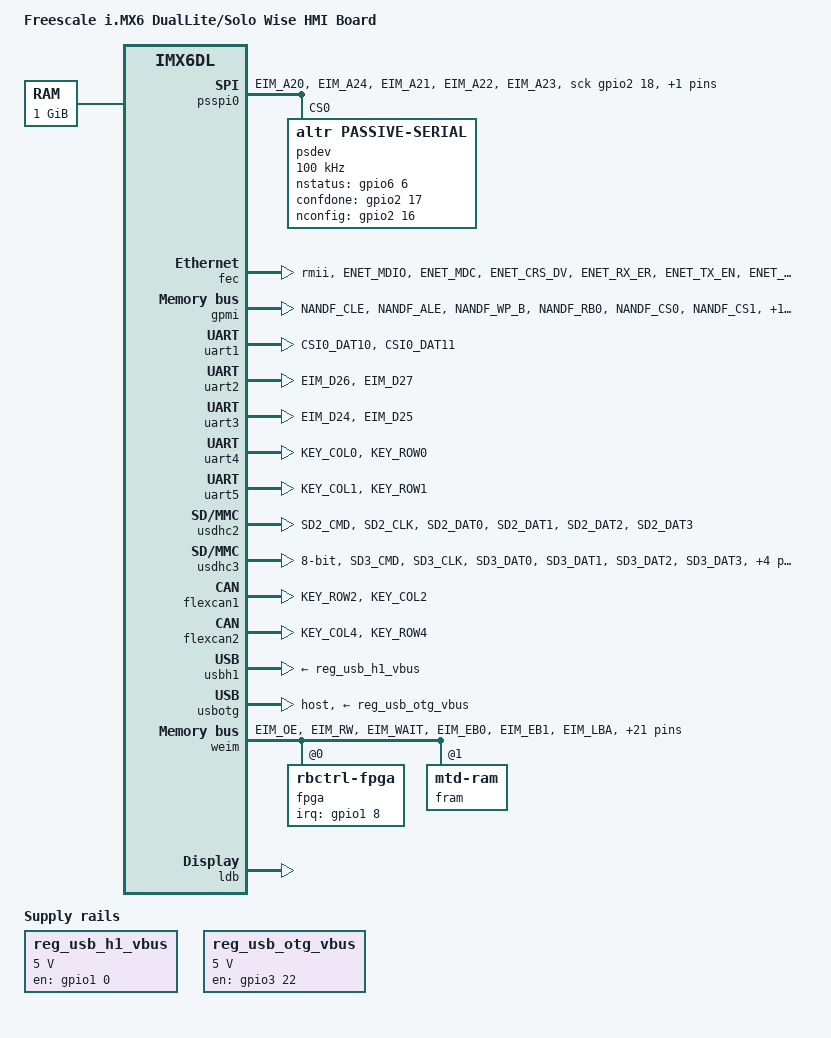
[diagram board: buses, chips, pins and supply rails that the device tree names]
/*
 * Copyright (C) 2013 Freescale Semiconductor, Inc.
 *
 * This program is free software; you can redistribute it and/or modify
 * it under the terms of the GNU General Public License version 2 as
 * published by the Free Software Foundation.
 */

/dts-v1/;

#include "imx6dl.dtsi"

/ {
	model = "Freescale i.MX6 DualLite/Solo Wise HMI Board";
	compatible = "autorock,imx6dl-wisehmi", "autorock,imx6qdl-wisehmi", "fsl,imx6dl";

	memory {
		reg = <0x10000000 0x40000000>;
	};

	chosen {
		bootargs = "root=ubi0:rootfs rootfstype=ubifs ubi.mtd=ubifs rw console=ttymxc1,115200n8 splash=0x13000000,0x80000";
//		bootargs = "console=ttymxc1,115200n8 root=/dev/nfs nfsroot=192.168.0.55:/data/samba/nfs/mx6/rbctrl-root ip=192.168.0.114:192.168.0.254:192.168.0.254:255.255.255.0:freescale:eth0:off init=/linuxrc";
    };

	aliases {
		mxcfb0 = &mxcfb1;
	};

	/*ldb and lcd device naming rules: [manufacturers name]_[product number]
	 * all letters must be uppercase
	 * not allow named like :xxxx-1280x480
	 */
	mxcfb1: fb@0 {
		compatible = "fsl,mxc_sdc_fb";
		disp_dev = "ldb";
		interface_pix_fmt = "RGB666";
		default_bpp = <32>;
		int_clk = <0>;
		late_init = <0>;
		min_nbuf = <2>;
		status = "okay";
	};

	regulators {
		compatible = "simple-bus";
		reg_usb_h1_vbus: usb_h1_vbus {
			compatible = "regulator-fixed";
			regulator-name = "usb_h1_vbus";
			regulator-min-microvolt = <5000000>;
			regulator-max-microvolt = <5000000>;
			gpio = <&gpio1 0 0>;
			enable-active-high;
			regulator-boot-on;
		};

		reg_usb_otg_vbus: usb_otg_vbus {
			compatible = "regulator-fixed";
			regulator-name = "usb_otg_vbus";
			regulator-min-microvolt = <5000000>;
			regulator-max-microvolt = <5000000>;
			gpio = <&gpio3 22 0>;
			enable-active-high;
			regulator-boot-on;
		};
	};

	psspi0 {
		compatible = "spi-gpio";
		pinctrl-names = "default";
		pinctrl-0 = <&psspi0_pins_cfg>;
		status = "okay";
		gpio-sck = <&gpio2 18 0>;
		gpio-mosi = <&gpio5 4 0>;
		num-chipselects = <1>;
		#address-cells = <1>;
		#size-cells = <0>;
		/* clients */

		psdev: psdev@0{
			compatible = "altr,passive-serial";
			reg = <0>;
			spi-max-frequency = <100000>;
			gpio-nstatus = <&gpio6 6 0>;
			gpio-confdone = <&gpio2 17 0>;
			gpio-nconfig = <&gpio2 16 0>;
		};
	};
};

&iomuxc {
	pinctrl-names = "default";
	pinctrl-0 = <&pinctrl_hog>;

	hog {
		pinctrl_hog: hoggrp {
			fsl,pins = <
				MX6QDL_PAD_GPIO_0__GPIO1_IO00 	0x1b0b0		//gpio1.0 usb host1 power
				MX6QDL_PAD_EIM_D22__GPIO3_IO22	0x80000000	//gpio3.22 usb otg power
				MX6QDL_PAD_GPIO_3__GPIO1_IO03   0x80000000	//gpio1.3 usb host1 over current
				MX6QDL_PAD_EIM_D21__GPIO3_IO21  0x80000000	//gpio3.21 usb otg over current
				MX6QDL_PAD_GPIO_1__USB_OTG_ID	0x80000000	//usb otg id
				MX6QDL_PAD_GPIO_8__GPIO1_IO08	0x80000000	//fpga interrupt
			>;
		};
	};

	imx6qdl-wisehmi {
		pinctrl_enet: enetgrp {

			fsl,pins = <
			    /* RMII */
				MX6QDL_PAD_ENET_MDIO__ENET_MDIO			0x1b0b0
				MX6QDL_PAD_ENET_MDC__ENET_MDC			0x1b0b0
				MX6QDL_PAD_ENET_CRS_DV__ENET_RX_EN		0x1b0b0
				MX6QDL_PAD_ENET_RX_ER__ENET_RX_ER		0x1b0b0
				MX6QDL_PAD_ENET_TX_EN__ENET_TX_EN		0x1b0b0
				MX6QDL_PAD_ENET_RXD0__ENET_RX_DATA0		0x1b0b0
				MX6QDL_PAD_ENET_RXD1__ENET_RX_DATA1		0x1b0b0
				MX6QDL_PAD_ENET_TXD0__ENET_TX_DATA0		0x1b0b0
				MX6QDL_PAD_ENET_TXD1__ENET_TX_DATA1		0x1b0b0
				/* reset */
				MX6QDL_PAD_GPIO_2__GPIO1_IO02			0x80000000
				/* interrupt */
				MX6QDL_PAD_GPIO_9__GPIO1_IO09			0x80000000
				/* reference clock */
				MX6QDL_PAD_GPIO_16__ENET_REF_CLK		0x4001b0a8
			>;
		};

		pinctrl_gpmi_nand: gpminandgrp {
			fsl,pins = <
				MX6QDL_PAD_NANDF_CLE__NAND_CLE     0xb0b1
				MX6QDL_PAD_NANDF_ALE__NAND_ALE     0xb0b1
				MX6QDL_PAD_NANDF_WP_B__NAND_WP_B   0xb0b1
				MX6QDL_PAD_NANDF_RB0__NAND_READY_B 0xb000
				MX6QDL_PAD_NANDF_CS0__NAND_CE0_B   0xb0b1
				MX6QDL_PAD_NANDF_CS1__NAND_CE1_B   0xb0b1
				MX6QDL_PAD_NANDF_CS2__NAND_CE2_B   0xb0b1
				MX6QDL_PAD_NANDF_CS3__NAND_CE3_B   0xb0b1
				MX6QDL_PAD_SD4_CMD__NAND_RE_B      0xb0b1
				MX6QDL_PAD_SD4_CLK__NAND_WE_B      0xb0b1
				MX6QDL_PAD_NANDF_D0__NAND_DATA00   0xb0b1
				MX6QDL_PAD_NANDF_D1__NAND_DATA01   0xb0b1
				MX6QDL_PAD_NANDF_D2__NAND_DATA02   0xb0b1
				MX6QDL_PAD_NANDF_D3__NAND_DATA03   0xb0b1
				MX6QDL_PAD_NANDF_D4__NAND_DATA04   0xb0b1
				MX6QDL_PAD_NANDF_D5__NAND_DATA05   0xb0b1
				MX6QDL_PAD_NANDF_D6__NAND_DATA06   0xb0b1
				MX6QDL_PAD_NANDF_D7__NAND_DATA07   0xb0b1
				MX6QDL_PAD_SD4_DAT0__NAND_DQS      0x00b1
			>;
		};

		pinctrl_uart1: uart1grp {
			fsl,pins = <
				MX6QDL_PAD_CSI0_DAT10__UART1_TX_DATA	0x1b0b1
				MX6QDL_PAD_CSI0_DAT11__UART1_RX_DATA	0x1b0b1
			>;
		};

		pinctrl_uart2: uart2grp {
			fsl,pins = <
				MX6QDL_PAD_EIM_D26__UART2_TX_DATA	0x1b0b1
				MX6QDL_PAD_EIM_D27__UART2_RX_DATA	0x1b0b1
			>;
		};

		pinctrl_uart3: uart3grp {
			fsl,pins = <
				MX6QDL_PAD_EIM_D24__UART3_TX_DATA	0x1b0b1
				MX6QDL_PAD_EIM_D25__UART3_RX_DATA	0x1b0b1
			>;
		};

		pinctrl_uart4: uart4grp {
			fsl,pins = <
				MX6QDL_PAD_KEY_COL0__UART4_TX_DATA 0x1b0b1
				MX6QDL_PAD_KEY_ROW0__UART4_RX_DATA 0x1b0b1
			>;
		};

		pinctrl_uart5: uart5grp {
			fsl,pins = <
				MX6QDL_PAD_KEY_COL1__UART5_TX_DATA	0x1b0b1
				MX6QDL_PAD_KEY_ROW1__UART5_RX_DATA	0x1b0b1
			>;
		};

		pinctrl_usdhc2: usdhc2grp {
			fsl,pins = <
				MX6QDL_PAD_SD2_CMD__SD2_CMD    0x17059
				MX6QDL_PAD_SD2_CLK__SD2_CLK    0x10059
				MX6QDL_PAD_SD2_DAT0__SD2_DATA0 0x17059
				MX6QDL_PAD_SD2_DAT1__SD2_DATA1 0x17059
				MX6QDL_PAD_SD2_DAT2__SD2_DATA2 0x17059
				MX6QDL_PAD_SD2_DAT3__SD2_DATA3 0x17059
			>;
		};

		pinctrl_usdhc3: usdhc3grp {
			fsl,pins = <
				MX6QDL_PAD_SD3_CMD__SD3_CMD 0x17079
				MX6QDL_PAD_SD3_CLK__SD3_CLK 0x10079
				MX6QDL_PAD_SD3_DAT0__SD3_DATA0 0x17079
				MX6QDL_PAD_SD3_DAT1__SD3_DATA1 0x17079
				MX6QDL_PAD_SD3_DAT2__SD3_DATA2 0x17079
				MX6QDL_PAD_SD3_DAT3__SD3_DATA3 0x17079
				MX6QDL_PAD_SD3_DAT4__SD3_DATA4 0x17079
				MX6QDL_PAD_SD3_DAT5__SD3_DATA5 0x17079
				MX6QDL_PAD_SD3_DAT6__SD3_DATA6 0x17079
				MX6QDL_PAD_SD3_DAT7__SD3_DATA7 0x17079
			>;
		};

		pinctrl_flexcan1: flexcan1grp {
			fsl,pins = <
				MX6QDL_PAD_KEY_ROW2__FLEXCAN1_RX 0x80000000
				MX6QDL_PAD_KEY_COL2__FLEXCAN1_TX 0x80000000
			>;
		};

		pinctrl_flexcan2: flexcan2grp {
			fsl,pins = <
				MX6QDL_PAD_KEY_COL4__FLEXCAN2_TX 0x80000000
				MX6QDL_PAD_KEY_ROW4__FLEXCAN2_RX 0x80000000
			>;
		};

/*		pinctrl_ecspi2: ecspi2grp {
			fsl,pins = <
				MX6QDL_PAD_CSI0_DAT10__ECSPI2_MISO 0x100b1
				MX6QDL_PAD_CSI0_DAT9__ECSPI2_MOSI  0x100b1
				MX6QDL_PAD_CSI0_DAT8__ECSPI2_SCLK  0x100b1
				// CS
				MX6QDL_PAD_CSI0_DAT11__GPIO5_IO29  0x80000000
			>;
		};
		pinctrl_ipu1: ipu1grp {
			fsl,pins = <
				MX6QDL_PAD_DI0_DISP_CLK__IPU1_DI0_DISP_CLK 0x10
				MX6QDL_PAD_DI0_PIN15__IPU1_DI0_PIN15       0x10
				MX6QDL_PAD_DI0_PIN2__IPU1_DI0_PIN02        0x10
				MX6QDL_PAD_DI0_PIN3__IPU1_DI0_PIN03        0x10
				MX6QDL_PAD_DI0_PIN4__IPU1_DI0_PIN04        0x80000000
				MX6QDL_PAD_DISP0_DAT0__IPU1_DISP0_DATA00   0x10
				MX6QDL_PAD_DISP0_DAT1__IPU1_DISP0_DATA01   0x10
				MX6QDL_PAD_DISP0_DAT2__IPU1_DISP0_DATA02   0x10
				MX6QDL_PAD_DISP0_DAT3__IPU1_DISP0_DATA03   0x10
				MX6QDL_PAD_DISP0_DAT4__IPU1_DISP0_DATA04   0x10
				MX6QDL_PAD_DISP0_DAT5__IPU1_DISP0_DATA05   0x10
				MX6QDL_PAD_DISP0_DAT6__IPU1_DISP0_DATA06   0x10
				MX6QDL_PAD_DISP0_DAT7__IPU1_DISP0_DATA07   0x10
				MX6QDL_PAD_DISP0_DAT8__IPU1_DISP0_DATA08   0x10
				MX6QDL_PAD_DISP0_DAT9__IPU1_DISP0_DATA09   0x10
				MX6QDL_PAD_DISP0_DAT10__IPU1_DISP0_DATA10  0x10
				MX6QDL_PAD_DISP0_DAT11__IPU1_DISP0_DATA11  0x10
				MX6QDL_PAD_DISP0_DAT12__IPU1_DISP0_DATA12  0x10
				MX6QDL_PAD_DISP0_DAT13__IPU1_DISP0_DATA13  0x10
				MX6QDL_PAD_DISP0_DAT14__IPU1_DISP0_DATA14  0x10
				MX6QDL_PAD_DISP0_DAT15__IPU1_DISP0_DATA15  0x10
				MX6QDL_PAD_DISP0_DAT16__IPU1_DISP0_DATA16  0x10
				MX6QDL_PAD_DISP0_DAT17__IPU1_DISP0_DATA17  0x10
				MX6QDL_PAD_DISP0_DAT18__IPU1_DISP0_DATA18  0x10
				MX6QDL_PAD_DISP0_DAT19__IPU1_DISP0_DATA19  0x10
				MX6QDL_PAD_DISP0_DAT20__IPU1_DISP0_DATA20  0x10
				MX6QDL_PAD_DISP0_DAT21__IPU1_DISP0_DATA21  0x10
				MX6QDL_PAD_DISP0_DAT22__IPU1_DISP0_DATA22  0x10
				MX6QDL_PAD_DISP0_DAT23__IPU1_DISP0_DATA23  0x10
			>;
		};*/
	};
	weim {
		pinctrl_weim_cs0: weim_cs0grp-1 {
			fsl,pins = <
				MX6QDL_PAD_EIM_CS0__EIM_CS0_B   0xb0b1
			>;
		};
		pinctrl_weim_cs1: weim_cs1grp-1 {
			fsl,pins = <
				MX6QDL_PAD_EIM_CS1__EIM_CS1_B	0xb0b1
			>;
		};
		pinctrl_weim_nor: weim_norgrp-1 {
			fsl,pins = <
				MX6QDL_PAD_EIM_OE__EIM_OE_B		0xb0b1
				MX6QDL_PAD_EIM_RW__EIM_RW		0xb0b1
				MX6QDL_PAD_EIM_WAIT__EIM_WAIT_B	0xb060
				MX6QDL_PAD_EIM_EB0__EIM_EB0_B	0x80000000
				MX6QDL_PAD_EIM_EB1__EIM_EB1_B	0x80000000
				MX6QDL_PAD_EIM_LBA__EIM_LBA_B	0x80000000
				MX6QDL_PAD_EIM_BCLK__EIM_BCLK	0x80000000
				/* data */
				MX6QDL_PAD_EIM_DA0__EIM_AD00	0xb0b0
				MX6QDL_PAD_EIM_DA1__EIM_AD01	0xb0b0
				MX6QDL_PAD_EIM_DA2__EIM_AD02	0xb0b0
				MX6QDL_PAD_EIM_DA3__EIM_AD03	0xb0b0
				MX6QDL_PAD_EIM_DA4__EIM_AD04	0xb0b0
				MX6QDL_PAD_EIM_DA5__EIM_AD05	0xb0b0
				MX6QDL_PAD_EIM_DA6__EIM_AD06	0xb0b0
				MX6QDL_PAD_EIM_DA7__EIM_AD07	0xb0b0
				MX6QDL_PAD_EIM_DA8__EIM_AD08	0xb0b0
				MX6QDL_PAD_EIM_DA9__EIM_AD09	0xb0b0
				MX6QDL_PAD_EIM_DA10__EIM_AD10	0xb0b0
				MX6QDL_PAD_EIM_DA11__EIM_AD11	0xb0b0
				MX6QDL_PAD_EIM_DA12__EIM_AD12	0xb0b0
				MX6QDL_PAD_EIM_DA13__EIM_AD13	0xb0b0
				MX6QDL_PAD_EIM_DA14__EIM_AD14	0xb0b0
				MX6QDL_PAD_EIM_DA15__EIM_AD15	0xb0b0
				/* address */
				MX6QDL_PAD_EIM_A17__EIM_ADDR17	0xb0b1
				MX6QDL_PAD_EIM_A16__EIM_ADDR16	0xb0b1
			>;
		};
	};

	psspi0_pins_cfg {
		psspi0_pins_cfg: psspi0 {
			fsl,pins = <
				MX6QDL_PAD_EIM_A20__GPIO2_IO18	0x80000000	//gpio2.18 fpga ps dclk
				MX6QDL_PAD_EIM_A24__GPIO5_IO04	0x80000000	//gpio5.4 fpga ps dat0
				MX6QDL_PAD_EIM_A21__GPIO2_IO17	0x80000000	//gpio2.17 fpga ps config done
				MX6QDL_PAD_EIM_A22__GPIO2_IO16	0x80000000	//gpio2.16 fpga ps nconfig
				MX6QDL_PAD_EIM_A23__GPIO6_IO06	0x80000000	//gpio6.6 fpga ps nstatus
			>;
		};
	};
};

&fec {
	pinctrl-names = "default";
	pinctrl-0 = <&pinctrl_enet>;
	phy-mode = "rmii";
	phy-reset-gpios = <&gpio1 2 0>;
	status = "okay";
};

&gpmi {
	pinctrl-names = "default";
	pinctrl-0 = <&pinctrl_gpmi_nand>;
	nand-on-flash-bbt;
	status = "okay";

	partition@0 {
		label = "kernel";
		reg = <0x0 0x500000>;
	};
	partition@500000 {
		label = "ubifs";
		reg = <0x500000 0x0>;
	};
};

&uart1 {
	pinctrl-names = "default";
	pinctrl-0 = <&pinctrl_uart1>;
	status = "okay";
};

&uart2 {
	pinctrl-names = "default";
	pinctrl-0 = <&pinctrl_uart2>;
	status = "okay";
};

&uart3 {
	pinctrl-names = "default";
	pinctrl-0 = <&pinctrl_uart3>;
	status = "okay";
};

&uart4 {
	pinctrl-names = "default";
	pinctrl-0 = <&pinctrl_uart4>;
	status = "okay";
};

&uart5 {
	pinctrl-names = "default";
	pinctrl-0 = <&pinctrl_uart5>;
	status = "okay";
};

&usdhc2 {
	pinctrl-names = "default";
	pinctrl-0 = <&pinctrl_usdhc2>;
	status = "okay";
};

&usdhc3 {
	pinctrl-names = "default";
	pinctrl-0 = <&pinctrl_usdhc3>;
	bus-width = <8>;
	status = "okay";
};

&flexcan1 {
	pinctrl-names = "default";
	pinctrl-0 = <&pinctrl_flexcan1>;
	status = "okay";
};

&flexcan2 {
	pinctrl-names = "default";
	pinctrl-0 = <&pinctrl_flexcan2>;
	status = "okay";
};

&usbh1 {
	vbus-supply = <&reg_usb_h1_vbus>;
	status = "okay";
};

&usbotg {
	vbus-supply = <&reg_usb_otg_vbus>;
	dr_mode = "host";
	status = "okay";
};

&weim {
	pinctrl-names = "default";
	pinctrl-0 = <&pinctrl_weim_nor &pinctrl_weim_cs1 &pinctrl_weim_cs0>;
	fsl,weim-cs-gpr = <&gpr>;
	#address-cells = <2>;
	#size-cells = <1>;
	ranges = <0 0 0x08000000 0x02000000		//cs0, fpga
			1 0 0x0A000000 0x02000000	//cs1, fram
			2 0 0x0C000000 0x02000000	//cs2, unused
			3 0 0x0E000000 0x02000000>;	//cs3, unused

	/*<offset data offset data>...*/
	fsl,weim-reg-set = <0x9c 0x0	//ACLK is disabled
				0x90 ((1<<5)|(1<<3)|(3<<1)|(1<<0))	//BCLK always output divide 4
				0x94 ((14<<16)|(1<<0))	//enable dcr
				0x9c (1<<4)			//ACLK is enabled
				/*reset dcr*/
	/*			0x94 ((14<<16)|(1<<0)|(1<<1))
				0x94 ((14<<16)|(1<<0)|(1<<0))
				0x94 ((14<<16)|(1<<0)|(1<<1))*/
			>;

	status = "okay";

	fpga@0,0 {
		compatible = "rbctrl-fpga";
		reg = <0 0 0x4000>;
		interrupt-parent = <&gpio1>;
		interrupts = <8 0x8>;
		#address-cells = <1>;
		#size-cells = <1>;
		bank-width = <2>;
		fsl,weim-cs-timing = <0x00610089 0x00000001 0x1c172000
				0x00000000 0x1c3ca3ca 0x00000000>;
	};
	fram@1,0 {
		compatible = "mtd-ram";
		reg = <1 0 0x4000>;
		#address-cells = <1>;
		#size-cells = <1>;
		bank-width = <2>;
		fsl,weim-cs-timing = <0x00610089 0x00000001 0x1c172000
				0x00000000 0x1c3ca3ca 0x00000000>;
	};
};

&ldb {
	status = "okay";
	lvds-channel@0 {
		fsl,data-mapping = "spwg";
		fsl,data-width = <24>;
		crtc = "ipu1-di0";
		primary;
		status = "okay";

		display-timings {
			native-mode = <&AUO_A070XN01>;

			AUO_A070XN01: timing0{
				clock-frequency = <52000000>; /*HZ*/
				hactive = <1024>;
				vactive = <768>;
				hback-porch = <104>;
				hfront-porch = <88>;
				vback-porch = <23>;
				vfront-porch = <11>;
				hsync-len = <128>;
				vsync-len = <4>;
			};
			AUO_A070SN02: timing1{
				clock-frequency = <40000000>; /*HZ*/
				hactive = <800>;
				vactive = <600>;
				hback-porch = <40>;
				hfront-porch = <88>;
				vback-porch = <39>;
				vfront-porch = <23>;
				hsync-len = <128>;
				vsync-len = <4>;
			};
		};
	};

/*	ipu_id = <0>;
	disp_id = <0>;
	ext_ref = <1>;
	mode = "sin0";
	sec_ipu_id = <0>;
	sec_disp_id = <1>;*/
};
